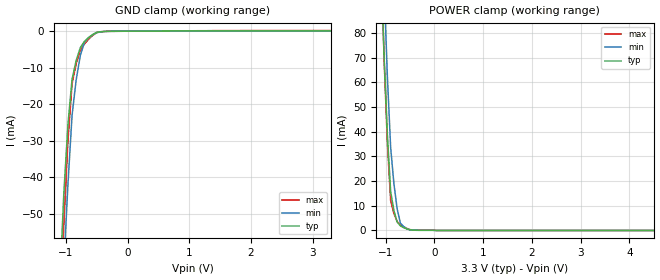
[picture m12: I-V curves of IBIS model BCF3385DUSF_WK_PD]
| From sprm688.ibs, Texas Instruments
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|   Model Cell BCF3385DUSF_WK_PD
|BCF3385DUSF_WK_PD
[Model]   BCF3385DUSF_WK_PD
Model_type   Input
Polarity   Non-Inverting
Vinl =  0.8
Vinh =  2
C_comp   1.190763p   1.060544p   1.317111p
[Model Spec]
Vinl   0.8   0.8   0.8
Vinh   2   2   2
[Temperature Range]   25   155   -40
[Voltage Range]   3.3   2.97   3.63
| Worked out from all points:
|   GND clamp passes 1 mA (typ) near -0.57 V on its own axis
|   POWER clamp passes 1 mA (typ) near -0.61 V on its own axis
| Nom Voltages:
|   VDD=1.2, VDDS=3.3, VSS=0
| Min Voltages:
|   VDD=1.08, VDDS=2.97, VSS=0
| Max Voltages:
|   VDD=1.32, VDDS=3.63, VSS=0
[POWER_clamp]
|   voltage   I(typ)   I(min)   I(max)
-3.3V     1.919A     2.431A     2.07A
-1.1V     109.6mA    140.7mA    112.7mA
-1.033V   69.94mA    97.96mA    68.83mA
-966.7mV  38.68mA    62.26mA    35.3mA
-900mV    15.79mA    33.62mA    12.12mA
-833.3mV  8.093mA    18.99mA    6.86mA
-766.7mV  3.45mA     8.781mA    3.617mA
-700mV    1.863mA    2.994mA    2.393mA
-633.3mV  1.154mA    1.592mA    1.5mA
-500mV    241.1uA    272.1uA    323.7uA
-300mV    107.7uA    54.49uA    178.9uA
6.6V      0A         0A         0A
[GND_clamp]
|   voltage   I(typ)   I(min)   I(max)
-3.3V     -1.48A     -1.41A     -2.186A
-1.1V     -69.73mA   -89.96mA   -82.83mA
-1.033V   -44.47mA   -64.24mA   -52.88mA
-966.7mV  -25.63mA   -41.94mA   -30.08mA
-900mV    -13.22mA   -23.06mA   -14.42mA
-833.3mV  -8.012mA   -13.34mA   -8.913mA
-766.7mV  -4.54mA    -6.685mA   -5.281mA
-700mV    -2.798mA   -3.107mA   -3.521mA
-566.7mV  -921.2uA   -975.4uA   -1.153mA
-500mV    -307.5uA   -405.6uA   -363.2uA
-300mV    -27.98uA   -20.38uA   -40.75uA
3.3V      107.2uA    58.01uA    177.9uA
